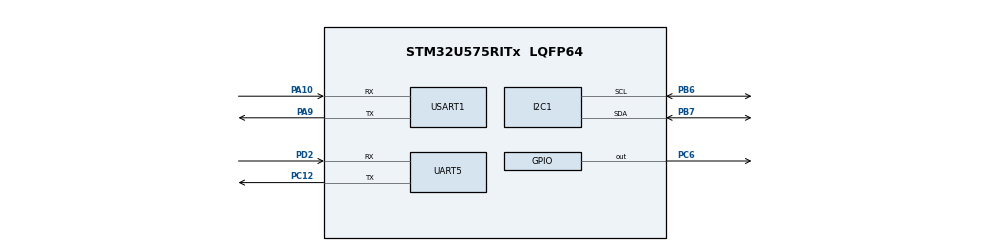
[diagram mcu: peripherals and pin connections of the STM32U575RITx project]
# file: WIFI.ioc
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CORTEX_M33_NS.userName=CORTEX_M33
I2C1.Timing=0x00000E14
Mcu.Family=STM32U5
Mcu.Name=STM32U575RITx
Mcu.Package=LQFP64
NVIC.PriorityGroup=NVIC_PRIORITYGROUP_4
NVIC.UART5_IRQn=true\:0\:0\:false\:false\:true\:true\:true\:true
PA10.Mode=Asynchronous
PA10.Signal=USART1_RX
PA9.Mode=Asynchronous
PA9.Signal=USART1_TX
PB6.Mode=I2C
PB6.Signal=I2C1_SCL
PB7.Mode=I2C
PB7.Signal=I2C1_SDA
PC12.Mode=Asynchronous
PC12.Signal=UART5_TX
PC6.Signal=GPIO_Output
PD2.Mode=Asynchronous
PD2.Signal=UART5_RX
ProjectManager.HeapSize=0x200
ProjectManager.StackSize=0x400
ProjectManager.TargetToolchain=MDK-ARM V5.32
RCC.ADCFreq_Value=16000000
RCC.EPOD_VALUE=4000000
RCC.HSE_VALUE=16000000
RCC.HSI48_VALUE=48000000
RCC.HSI_VALUE=16000000
RCC.LSE_VALUE=32768
RCC.LSIDIV_VALUE=32000
RCC.MSI_VALUE=4000000
RCC.USBFreq_Value=48000000
RCC.VCOOutputFreq_Value=516000000
USART1.VirtualMode-Asynchronous=VM_ASYNC
VP_ICACHE_VS_ICACHE.Mode=DirectMappedCache
VP_LPBAMQUEUE_VS_QUEUE.Mode=QUEUEMODE
VP_LPBAM_VS_SIG1.Mode=SmartRun
VP_LPBAM_VS_SIG4.Mode=LPDMA1
VP_PWR_VS_DBSignals.Mode=DisableDeadBatterySignals
VP_PWR_VS_LPOM.Mode=PowerOptimisation
VP_PWR_VS_SECSignals.Mode=Security/Privilege
board=custom

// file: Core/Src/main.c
/* USER CODE BEGIN Header */
/**
  ******************************************************************************
  * @file           : main.c
  * @brief          : Main program body
  ******************************************************************************
  * @attention
  *
  * Copyright (c) 2025 STMicroelectronics.
  * All rights reserved.
  *
  * This software is licensed under terms that can be found in the LICENSE file
  * in the root directory of this software component.
  * If no LICENSE file comes with this software, it is provided AS-IS.
  *
  ******************************************************************************
  */
/* USER CODE END Header */
#include "main.h"
#include "i2c.h"
#include "icache.h"
#include "usart.h"
#include "gpio.h"
#include "bsp_sht20.h"
/* USER CODE BEGIN Includes */
#include "string.h"
#include "stdio.h"
#include "tcp_wifi.h"
/* USER CODE END Includes */

void SystemClock_Config(void);
static void SystemPower_Config(void);

int flag=0;
uint8_t RecvBuf[2048];
extern SHT20_TemRH_Val gTemRH_Val;
int is_work = 1;
int main(void)
{

  /* MCU Configuration--------------------------------------------------------*/

  /* Reset of all peripherals, Initializes the Flash interface and the Systick. */
  HAL_Init();

  /* Configure the system clock */
  SystemClock_Config();

  /* Configure the System Power */
  SystemPower_Config();

  /* Initialize all configured peripherals */
  MX_GPIO_Init();
  MX_ICACHE_Init();
  MX_UART5_Init();
  MX_USART1_UART_Init();
  MX_I2C1_Init();
  /* USER CODE BEGIN 2 */
 /* USER CODE BEGIN 2 */
//�?启串口接收中�?
//如果服务器有数据发�?�过来，数据会保存到RecvBuf�?
	HAL_UART_Receive_IT(&huart5,RecvBuf,2048);
	//�?启串口空闲中�?
	__HAL_UART_ENABLE_IT(&huart5, UART_IT_IDLE);
	//进行wifi模块配置
	//将wifi模式设置为STA模式
	uint32_t ret=wifi_config("AT+CWMODE=1",100);
	if(ret==0)
	{
		u1_printf("esp8266 mode set succeed\n\r");
	}

	//连接wifi,这里的wifi名字和密码要换成自己的名字和密码
	ret=wifi_connect("333333","zjyzjy050109");
		if(ret==0)
	{
		u1_printf("wifi connect succeed\n\r");
	}
	//连接服务器IP和端口号
	ret=wifi_connecTCP("114.55.253.201",8000);

		if(ret==0)
	{
		u1_printf("TCP connect succeed\n\r");
	}
	//设置wifi的数据�?�传
	ret=wifi_config("AT+CIPMODE=1",10);
	if(ret==0)
	{
		u1_printf("DATA TRANS set succeed\n\r");
	}
	//�?启wifi的数据发�?
	ret=wifi_config("AT+CIPSEND",10);
	if(ret==0)
	{
		u1_printf("send set succeed\n\r");
	}
  /* USER CODE END 2 */

  /* Infinite loop */
  /* USER CODE BEGIN WHILE */
  while (1)
  {
		        // 温湿度
    BSP_SHT20_GetData();
    char temp_str[20], hum_str[20];
		char is_work_str[20];
    sprintf(temp_str, "Tem: %.1fC\n", gTemRH_Val.Tem);
		sprintf(hum_str, "Hum: %.1fC\n", gTemRH_Val.Hum);
		sprintf(is_work_str,"IS_WORK:%d\n",is_work);
    TCP_send(temp_str);
		TCP_send(hum_str);
		TCP_send(is_work_str);
		if(is_work == 1)
		{
			HAL_GPIO_WritePin(GPIOC,GPIO_PIN_6,GPIO_PIN_SET);
		}
		else {
			HAL_GPIO_WritePin(GPIOC,GPIO_PIN_6,GPIO_PIN_RESET);
		}
		if(flag==1)//表示服务器给单片机发送数�?
		{
			char a_str[20],t_str[20],m_str[20];
      int t= (int)RecvBuf[0]-48;
			int m = (int)RecvBuf[1]-48;
			int a=t*10+m;
			 sprintf(t_str,"t:%d\n",t);
			 sprintf(m_str,"m:%d\n",m);
		  sprintf(a_str,"a:%d\n",a);
			TCP_send(a_str);
			TCP_send(m_str);
			TCP_send(t_str);
			if(a<gTemRH_Val.Tem){
				is_work = 1;}
			else is_work = 0;

			memset(RecvBuf,0,sizeof(RecvBuf));
			flag=0;//表示下一次数据没有接收到
		}
	HAL_Delay(1000);
    /* USER CODE END WHILE */

  }
}

void SystemClock_Config(void)
{
  RCC_OscInitTypeDef RCC_OscInitStruct = {0};
  RCC_ClkInitTypeDef RCC_ClkInitStruct = {0};

  /** Configure the main internal regulator output voltage
  */
  if (HAL_PWREx_ControlVoltageScaling(PWR_REGULATOR_VOLTAGE_SCALE4) != HAL_OK)
  {
    Error_Handler();
  }

  /** Initializes the CPU, AHB and APB buses clocks
  */
  RCC_OscInitStruct.OscillatorType = RCC_OSCILLATORTYPE_MSI;
  RCC_OscInitStruct.MSIState = RCC_MSI_ON;
  RCC_OscInitStruct.MSICalibrationValue = RCC_MSICALIBRATION_DEFAULT;
  RCC_OscInitStruct.MSIClockRange = RCC_MSIRANGE_4;
  RCC_OscInitStruct.PLL.PLLState = RCC_PLL_NONE;
  if (HAL_RCC_OscConfig(&RCC_OscInitStruct) != HAL_OK)
  {
    Error_Handler();
  }

  /** Initializes the CPU, AHB and APB buses clocks
  */
  RCC_ClkInitStruct.ClockType = RCC_CLOCKTYPE_HCLK|RCC_CLOCKTYPE_SYSCLK
                              |RCC_CLOCKTYPE_PCLK1|RCC_CLOCKTYPE_PCLK2
                              |RCC_CLOCKTYPE_PCLK3;
  RCC_ClkInitStruct.SYSCLKSource = RCC_SYSCLKSOURCE_MSI;
  RCC_ClkInitStruct.AHBCLKDivider = RCC_SYSCLK_DIV1;
  RCC_ClkInitStruct.APB1CLKDivider = RCC_HCLK_DIV1;
  RCC_ClkInitStruct.APB2CLKDivider = RCC_HCLK_DIV1;
  RCC_ClkInitStruct.APB3CLKDivider = RCC_HCLK_DIV1;

  if (HAL_RCC_ClockConfig(&RCC_ClkInitStruct, FLASH_LATENCY_0) != HAL_OK)
  {
    Error_Handler();
  }
}

/**
  * @brief Power Configuration
  * @retval None
  */
static void SystemPower_Config(void)
{

  /*
   * Disable the internal Pull-Up in Dead Battery pins of UCPD peripheral
   */
  HAL_PWREx_DisableUCPDDeadBattery();
}

void Error_Handler(void)
{
  __disable_irq();
  while (1)
  {
  }
}
